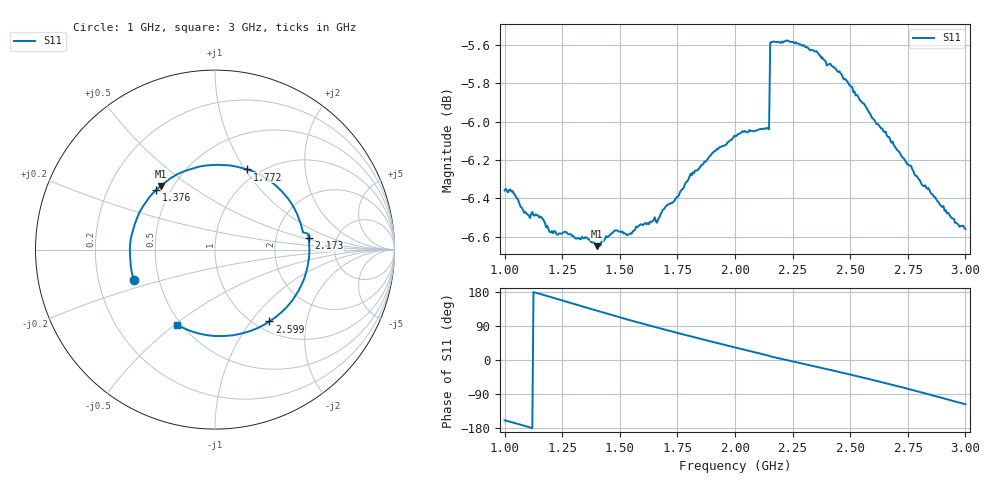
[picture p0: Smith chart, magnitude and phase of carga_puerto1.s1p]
#  HZ  S  DB  R  50.00
! Rohde & Schwarz Vector Network Analyzer
! Rohde-Schwarz,ZND-2Port,1328517092100682,2.70
! Created: UTC 11/29/2017, 5:32:53 PM
! freq[Hz]  db:S11  ang:S11
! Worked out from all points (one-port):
!   400 points, 1 GHz to 3 GHz, reference 50 ohm
!   lowest |S11| = -6.7 dB at 1.401 GHz (marker M1), VSWR 2.74, Z = 21.6 + j19.5 ohm
!   |S11| at or under -10 dB: nowhere
!   S11 on the Smith chart (normalised r, x): 1 GHz: 0.36, -0.16; 1.376 GHz: 0.42, +0.35; 1.772 GHz: 0.88, +1.02; 2.173 GHz: 3.11, +0.55; 2.599 GHz: 1.16, -1.24; 3 GHz: 0.47, -0.51
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1e9  -6.36 -159.1
1.055138e9  -6.40 -168.3
1.120301e9  -6.47 -180.0
1.170426e9  -6.52 171.4
1.250627e9  -6.58 157.0
1.300752e9  -6.60 148.1
1.37594e9  -6.63 134.6
1.401003e9  -6.65 130.3
1.501253e9  -6.57 112.4
1.611529e9  -6.53 93.8
1.686717e9  -6.46 81.7
1.75188e9  -6.39 71.2
1.77193e9  -6.35 68.1
1.892231e9  -6.18 49.4
2.002506e9  -6.08 32.8
2.072682e9  -6.05 22.2
2.14787e9  -6.04 11.1
2.152882e9  -5.59 9.7
2.172932e9  -5.58 7.0
2.253133e9  -5.59 -4.0
2.368421e9  -5.65 -19.9
2.438596e9  -5.73 -29.6
2.503759e9  -5.82 -39.0
2.598997e9  -5.98 -52.8
2.684211e9  -6.10 -65.6
2.754386e9  -6.23 -76.6
2.869674e9  -6.40 -95.4
3e9  -6.56 -116.7
